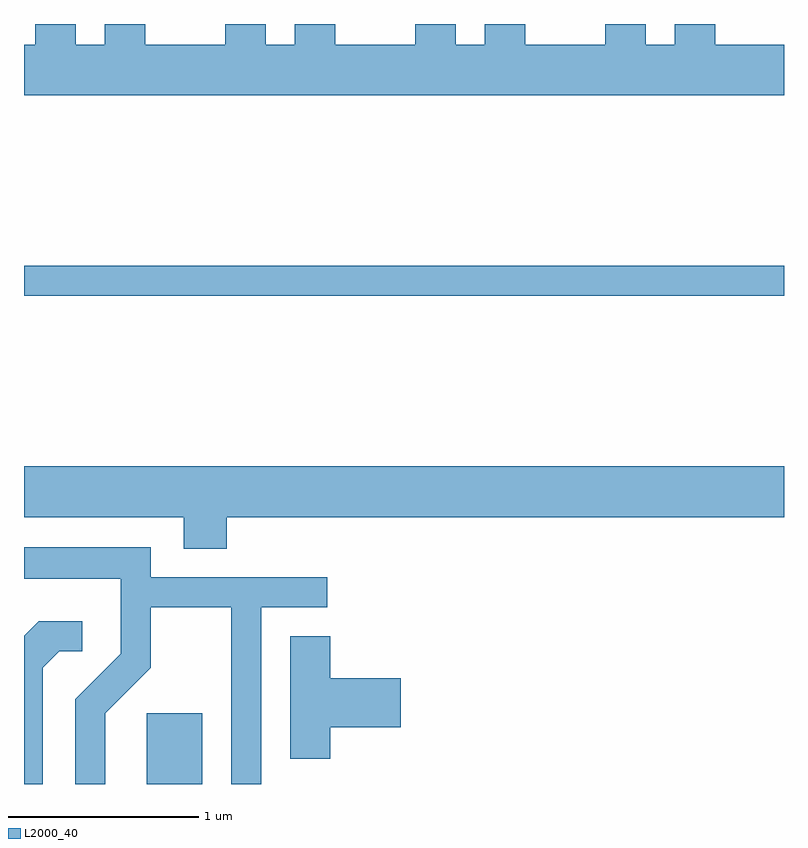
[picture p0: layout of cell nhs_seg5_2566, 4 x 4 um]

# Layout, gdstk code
import gdstk
lib = gdstk.Library(unit=1e-6, precision=1e-09)
def R(c, l, rs):  # rectangles x0, y0, x1, y1
    for r in rs: c.add(gdstk.rectangle(r[:2], r[2:], *l))
def P(c, l, *ps):  # polygons
    for p in ps: c.add(gdstk.Polygon(p, *l))
L2000_40 = (2000, 40)

nhs_seg5_2566 = lib.new_cell('nhs_seg5_2566')
R(nhs_seg5_2566, L2000_40, [(262.256,1442.072,262.549,1442.444), (261.611,1444.641,265.611,1444.799)])
P(nhs_seg5_2566, L2000_40, [(265.611,1445.964),(265.249,1445.964),(265.249,1446.072),(265.036,1446.072),(265.036,1445.964),(264.884,1445.964),(264.884,1446.072),(264.671,1446.072),(264.671,1445.964),(264.249,1445.964),(264.249,1446.072),(264.036,1446.072),(264.036,1445.964),(263.884,1445.964),(263.884,1446.072),(263.671,1446.072),(263.671,1445.964),(263.249,1445.964),(263.249,1446.072),(263.036,1446.072),(263.036,1445.964),(262.884,1445.964),(262.884,1446.072),(262.671,1446.072),(262.671,1445.964),(262.249,1445.964),(262.249,1446.072),(262.036,1446.072),(262.036,1445.964),(261.884,1445.964),(261.884,1446.072),(261.671,1446.072),(261.671,1445.964),(261.611,1445.964),(261.611,1445.696),(265.611,1445.696)],
  [(262.679,1443.476),(265.611,1443.476),(265.611,1443.744),(261.611,1443.744),(261.611,1443.476),(262.451,1443.476),(262.451,1443.311),(262.679,1443.311)],
  [(262.039,1442.444),(262.279,1442.684),(262.279,1443.001),(262.701,1443.001),(262.701,1442.072),(262.859,1442.072),(262.859,1443.001),(263.208,1443.001),(263.208,1443.159),(262.279,1443.159),(262.279,1443.319),(261.611,1443.319),(261.611,1443.151),(262.121,1443.151),(262.121,1442.757),(261.881,1442.517),(261.881,1442.072),(262.039,1442.072)],
  [(261.709,1442.684),(261.796,1442.771),(261.918,1442.771),(261.918,1442.929),(261.689,1442.929),(261.611,1442.851),(261.611,1442.072),(261.709,1442.072)],
  [(263.224,1442.371),(263.594,1442.371),(263.594,1442.629),(263.224,1442.629),(263.224,1442.849),(263.011,1442.849),(263.011,1442.206),(263.224,1442.206)])

lib.write_gds('nhs_seg5_2566.gds')
